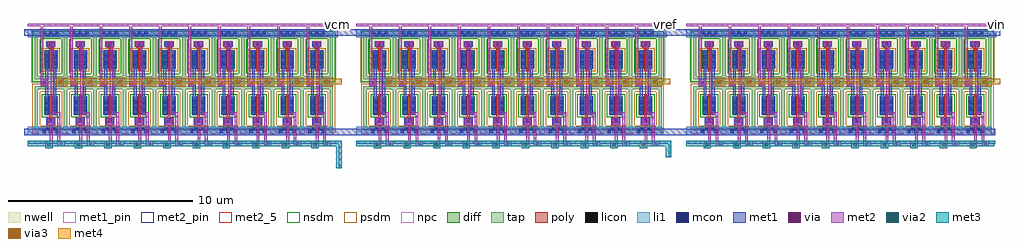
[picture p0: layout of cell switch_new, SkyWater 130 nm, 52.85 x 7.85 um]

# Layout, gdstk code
import gdstk
lib = gdstk.Library(unit=1e-6, precision=1e-09)
def R(c, l, rs):  # rectangles x0, y0, x1, y1
    for r in rs: c.add(gdstk.rectangle(r[:2], r[2:], *l))
def A(c, l, x, y, w, h, nx, ny, dx, dy):  # array of equal rectangles
    R(c, l, [(x+i*dx, y+j*dy, x+i*dx+w, y+j*dy+h) for i in range(nx) for j in range(ny)])
nwell = (64, 20)
diff = (65, 20)
tap = (65, 44)
poly = (66, 20)
licon = (66, 44)
li1 = (67, 20)
mcon = (67, 44)
met1_pin = (68, 16)
met1 = (68, 20)
via = (68, 44)
met2_5 = (69, 5)
met2_pin = (69, 16)
met2 = (69, 20)
via2 = (69, 44)
met3 = (70, 20)
via3 = (70, 44)
met4 = (71, 20)
nsdm = (93, 44)
psdm = (94, 20)
npc = (95, 20)

smpl_switch = lib.new_cell('smpl_switch')
R(smpl_switch, nwell, [(-0.51,19.46,16,22.3)])
A(smpl_switch, diff, 0.18, 17.71, 0.73, 1, 10, 2, 1.6, 2.49)
A(smpl_switch, tap, 1.25, 17.01, 0.19, 2.09, 9, 1, 1.6, 0)
A(smpl_switch, tap, 1.25, 19.81, 0.19, 2.14, 9, 1, 1.6, 0)
R(smpl_switch, tap, [(-0.33,16.84,15.82,17.01), (-0.33,17.01,-0.16,19.1), (15.65,17.01,15.82,19.1), (-0.33,19.1,15.82,19.27), (-0.33,19.64,15.82,19.81), (-0.33,19.81,-0.16,21.95), (15.65,19.81,15.82,21.95), (-0.33,21.95,15.82,22.12)])
A(smpl_switch, poly, 0.38, 17.27, 0.33, 0.33, 10, 2, 1.6, 4.085)
A(smpl_switch, poly, 0.47, 17.6, 0.15, 1.24, 10, 1, 1.6, 0)
A(smpl_switch, poly, 0.47, 20.07, 0.15, 1.285, 10, 1, 1.6, 0)
A(smpl_switch, licon, 0.46, 17.35, 0.17, 0.17, 10, 2, 1.6, 4.085)
A(smpl_switch, licon, 0.24, 17.785, 0.17, 0.17, 1, 3, 0, 0.34)
A(smpl_switch, licon, 0.68, 17.785, 0.17, 0.17, 1, 3, 0, 0.34)
A(smpl_switch, licon, 1.84, 17.785, 0.17, 0.17, 1, 3, 0, 0.34)
A(smpl_switch, licon, 2.28, 17.785, 0.17, 0.17, 1, 3, 0, 0.34)
A(smpl_switch, licon, 3.44, 17.785, 0.17, 0.17, 1, 3, 0, 0.34)
A(smpl_switch, licon, 3.88, 17.785, 0.17, 0.17, 1, 3, 0, 0.34)
A(smpl_switch, licon, 5.04, 17.785, 0.17, 0.17, 1, 3, 0, 0.34)
A(smpl_switch, licon, 5.48, 17.785, 0.17, 0.17, 1, 3, 0, 0.34)
A(smpl_switch, licon, 6.64, 17.785, 0.17, 0.17, 1, 3, 0, 0.34)
A(smpl_switch, licon, 7.08, 17.785, 0.17, 0.17, 1, 3, 0, 0.34)
A(smpl_switch, licon, 8.24, 17.785, 0.17, 0.17, 1, 3, 0, 0.34)
A(smpl_switch, licon, 8.68, 17.785, 0.17, 0.17, 1, 3, 0, 0.34)
A(smpl_switch, licon, 9.84, 17.785, 0.17, 0.17, 1, 3, 0, 0.34)
A(smpl_switch, licon, 10.28, 17.785, 0.17, 0.17, 1, 3, 0, 0.34)
A(smpl_switch, licon, 11.44, 17.785, 0.17, 0.17, 1, 3, 0, 0.34)
A(smpl_switch, licon, 11.88, 17.785, 0.17, 0.17, 1, 3, 0, 0.34)
A(smpl_switch, licon, 13.04, 17.785, 0.17, 0.17, 1, 3, 0, 0.34)
A(smpl_switch, licon, 13.48, 17.785, 0.17, 0.17, 1, 3, 0, 0.34)
A(smpl_switch, licon, 14.64, 17.785, 0.17, 0.17, 1, 3, 0, 0.34)
A(smpl_switch, licon, 15.08, 17.785, 0.17, 0.17, 1, 3, 0, 0.34)
A(smpl_switch, licon, 0.24, 20.275, 0.17, 0.17, 1, 3, 0, 0.34)
A(smpl_switch, licon, 0.68, 20.275, 0.17, 0.17, 1, 3, 0, 0.34)
A(smpl_switch, licon, 1.84, 20.275, 0.17, 0.17, 1, 3, 0, 0.34)
A(smpl_switch, licon, 2.28, 20.275, 0.17, 0.17, 1, 3, 0, 0.34)
A(smpl_switch, licon, 3.44, 20.275, 0.17, 0.17, 1, 3, 0, 0.34)
A(smpl_switch, licon, 3.88, 20.275, 0.17, 0.17, 1, 3, 0, 0.34)
A(smpl_switch, licon, 5.04, 20.275, 0.17, 0.17, 1, 3, 0, 0.34)
A(smpl_switch, licon, 5.48, 20.275, 0.17, 0.17, 1, 3, 0, 0.34)
A(smpl_switch, licon, 6.64, 20.275, 0.17, 0.17, 1, 3, 0, 0.34)
A(smpl_switch, licon, 7.08, 20.275, 0.17, 0.17, 1, 3, 0, 0.34)
A(smpl_switch, licon, 8.24, 20.275, 0.17, 0.17, 1, 3, 0, 0.34)
A(smpl_switch, licon, 8.68, 20.275, 0.17, 0.17, 1, 3, 0, 0.34)
A(smpl_switch, licon, 9.84, 20.275, 0.17, 0.17, 1, 3, 0, 0.34)
A(smpl_switch, licon, 10.28, 20.275, 0.17, 0.17, 1, 3, 0, 0.34)
A(smpl_switch, licon, 11.44, 20.275, 0.17, 0.17, 1, 3, 0, 0.34)
A(smpl_switch, licon, 11.88, 20.275, 0.17, 0.17, 1, 3, 0, 0.34)
A(smpl_switch, licon, 13.04, 20.275, 0.17, 0.17, 1, 3, 0, 0.34)
A(smpl_switch, licon, 13.48, 20.275, 0.17, 0.17, 1, 3, 0, 0.34)
A(smpl_switch, licon, 14.64, 20.275, 0.17, 0.17, 1, 3, 0, 0.34)
A(smpl_switch, licon, 15.08, 20.275, 0.17, 0.17, 1, 3, 0, 0.34)
R(smpl_switch, licon, [(0.29,16.84,0.46,17.01), (0.63,16.84,0.8,17.01), (1.89,16.84,2.06,17.01), (2.23,16.84,2.4,17.01), (3.49,16.84,3.66,17.01), (3.83,16.84,4,17.01), (5.09,16.84,5.26,17.01), (5.43,16.84,5.6,17.01), (6.69,16.84,6.86,17.01), (7.03,16.84,7.2,17.01), (8.29,16.84,8.46,17.01), (8.63,16.84,8.8,17.01), (9.89,16.84,10.06,17.01), (10.23,16.84,10.4,17.01), (11.49,16.84,11.66,17.01), (11.83,16.84,12,17.01), (13.09,16.84,13.26,17.01), (13.43,16.84,13.6,17.01), (14.69,16.84,14.86,17.01), (15.03,16.84,15.2,17.01), (0.29,21.95,0.46,22.12), (0.63,21.95,0.8,22.12), (1.89,21.95,2.06,22.12), (2.23,21.95,2.4,22.12), (3.49,21.95,3.66,22.12), (3.83,21.95,4,22.12), (5.09,21.95,5.26,22.12), (5.43,21.95,5.6,22.12), (6.69,21.95,6.86,22.12), (7.03,21.95,7.2,22.12), (8.29,21.95,8.46,22.12), (8.63,21.95,8.8,22.12), (9.89,21.95,10.06,22.12), (10.23,21.95,10.4,22.12), (11.49,21.95,11.66,22.12), (11.83,21.95,12,22.12), (13.09,21.95,13.26,22.12), (13.43,21.95,13.6,22.12), (14.69,21.95,14.86,22.12), (15.03,21.95,15.2,22.12)])
A(smpl_switch, li1, 0.38, 17.35, 0.33, 0.17, 10, 2, 1.6, 4.085)
R(smpl_switch, li1, [(-0.71,16.61,15.84,17.06), (0.24,17.69,0.41,18.73), (0.68,17.69,0.85,18.73), (1.84,17.69,2.01,18.73), (2.28,17.69,2.45,18.73), (3.44,17.69,3.61,18.73), (3.88,17.69,4.05,18.73), (5.04,17.69,5.21,18.73), (5.48,17.69,5.65,18.73), (6.64,17.69,6.81,18.73), (7.08,17.69,7.25,18.73), (8.24,17.69,8.41,18.73), (8.68,17.69,8.85,18.73), (9.84,17.69,10.01,18.73), (10.28,17.69,10.45,18.73), (11.44,17.69,11.61,18.73), (11.88,17.69,12.05,18.73), (13.04,17.69,13.21,18.73), (13.48,17.69,13.65,18.73), (14.64,17.69,14.81,18.73), (15.08,17.69,15.25,18.73), (0.24,20.18,0.41,21.22), (0.68,20.18,0.85,21.22), (1.84,20.18,2.01,21.22), (2.28,20.18,2.45,21.22), (3.44,20.18,3.61,21.22), (3.88,20.18,4.05,21.22), (5.04,20.18,5.21,21.22), (5.48,20.18,5.65,21.22), (6.64,20.18,6.81,21.22), (7.08,20.18,7.25,21.22), (8.24,20.18,8.41,21.22), (8.68,20.18,8.85,21.22), (9.84,20.18,10.01,21.22), (10.28,20.18,10.45,21.22), (11.44,20.18,11.61,21.22), (11.88,20.18,12.05,21.22), (13.04,20.18,13.21,21.22), (13.48,20.18,13.65,21.22), (14.64,20.18,14.81,21.22), (15.08,20.18,15.25,21.22), (-0.71,21.91,16.09,22.36)])
A(smpl_switch, mcon, 0.095, 16.725, 0.17, 0.17, 3, 2, 0.36, 5.35)
A(smpl_switch, mcon, 1.695, 16.725, 0.17, 0.17, 3, 2, 0.36, 5.35)
A(smpl_switch, mcon, 3.295, 16.725, 0.17, 0.17, 3, 2, 0.36, 5.35)
A(smpl_switch, mcon, 4.895, 16.725, 0.17, 0.17, 3, 2, 0.36, 5.35)
A(smpl_switch, mcon, 6.495, 16.725, 0.17, 0.17, 3, 2, 0.36, 5.35)
A(smpl_switch, mcon, 8.095, 16.725, 0.17, 0.17, 3, 2, 0.36, 5.35)
A(smpl_switch, mcon, 9.695, 16.725, 0.17, 0.17, 3, 2, 0.36, 5.35)
A(smpl_switch, mcon, 11.295, 16.725, 0.17, 0.17, 3, 2, 0.36, 5.35)
A(smpl_switch, mcon, 12.895, 16.725, 0.17, 0.17, 3, 2, 0.36, 5.35)
A(smpl_switch, mcon, 14.495, 16.725, 0.17, 0.17, 3, 2, 0.36, 5.35)
A(smpl_switch, mcon, 0.46, 17.35, 0.17, 0.17, 10, 2, 1.6, 4.085)
R(smpl_switch, mcon, [(0.24,17.945,0.41,18.115), (0.68,17.945,0.85,18.115), (1.84,17.945,2.01,18.115), (2.28,17.945,2.45,18.115), (3.44,17.945,3.61,18.115), (3.88,17.945,4.05,18.115), (5.04,17.945,5.21,18.115), (5.48,17.945,5.65,18.115), (6.64,17.945,6.81,18.115), (7.08,17.945,7.25,18.115), (8.24,17.945,8.41,18.115), (8.68,17.945,8.85,18.115), (9.84,17.945,10.01,18.115), (10.28,17.945,10.45,18.115), (11.44,17.945,11.61,18.115), (11.88,17.945,12.05,18.115), (13.04,17.945,13.21,18.115), (13.48,17.945,13.65,18.115), (14.64,17.945,14.81,18.115), (15.08,17.945,15.25,18.115), (0.24,18.305,0.41,18.475), (0.68,18.305,0.85,18.475), (1.84,18.305,2.01,18.475), (2.28,18.305,2.45,18.475), (3.44,18.305,3.61,18.475), (3.88,18.305,4.05,18.475), (5.04,18.305,5.21,18.475), (5.48,18.305,5.65,18.475), (6.64,18.305,6.81,18.475), (7.08,18.305,7.25,18.475), (8.24,18.305,8.41,18.475), (8.68,18.305,8.85,18.475), (9.84,18.305,10.01,18.475), (10.28,18.305,10.45,18.475), (11.44,18.305,11.61,18.475), (11.88,18.305,12.05,18.475), (13.04,18.305,13.21,18.475), (13.48,18.305,13.65,18.475), (14.64,18.305,14.81,18.475), (15.08,18.305,15.25,18.475), (0.24,20.435,0.41,20.605), (0.68,20.435,0.85,20.605), (1.84,20.435,2.01,20.605), (2.28,20.435,2.45,20.605), (3.44,20.435,3.61,20.605), (3.88,20.435,4.05,20.605), (5.04,20.435,5.21,20.605), (5.48,20.435,5.65,20.605), (6.64,20.435,6.81,20.605), (7.08,20.435,7.25,20.605), (8.24,20.435,8.41,20.605), (8.68,20.435,8.85,20.605), (9.84,20.435,10.01,20.605), (10.28,20.435,10.45,20.605), (11.44,20.435,11.61,20.605), (11.88,20.435,12.05,20.605), (13.04,20.435,13.21,20.605), (13.48,20.435,13.65,20.605), (14.64,20.435,14.81,20.605), (15.08,20.435,15.25,20.605), (0.24,20.795,0.41,20.965), (0.68,20.795,0.85,20.965), (1.84,20.795,2.01,20.965), (2.28,20.795,2.45,20.965), (3.44,20.795,3.61,20.965), (3.88,20.795,4.05,20.965), (5.04,20.795,5.21,20.965), (5.48,20.795,5.65,20.965), (6.64,20.795,6.81,20.965), (7.08,20.795,7.25,20.965), (8.24,20.795,8.41,20.965), (8.68,20.795,8.85,20.965), (9.84,20.795,10.01,20.965), (10.28,20.795,10.45,20.965), (11.44,20.795,11.61,20.965), (11.88,20.795,12.05,20.965), (13.04,20.795,13.21,20.965), (13.48,20.795,13.65,20.965), (14.64,20.795,14.81,20.965), (15.08,20.795,15.25,20.965)])
A(smpl_switch, met1_pin, -0.41, 16.66, 0.3, 0.3, 10, 2, 1.6, 5.35)
A(smpl_switch, met1_pin, 0.29, 17.16, 0.05, 0.4, 10, 1, 1.6, 0)
A(smpl_switch, met1_pin, 0.69, 19.31, 0.15, 0.15, 10, 1, 1.6, 0)
A(smpl_switch, met1_pin, 0.05, 19.32, 0.3, 0.3, 10, 1, 1.6, 0)
A(smpl_switch, met1_pin, 0.74, 21.41, 0.05, 0.3, 10, 1, 1.6, 0)
A(smpl_switch, met1, 0.89, 16.01, 0.4, 0.15, 10, 1, 1.6, 0)
A(smpl_switch, met1, 0.29, 17.16, 0.5, 0.4, 10, 1, 1.6, 0)
A(smpl_switch, met1, -0.01, 19.26, 0.4, 0.4, 10, 1, 1.6, 0)
A(smpl_switch, met1, 0.69, 19.26, 0.55, 0.4, 10, 1, 1.6, 0)
A(smpl_switch, met1, 0.4, 21.405, 0.29, 0.005, 10, 1, 1.6, 0)
A(smpl_switch, met1, 0.29, 21.41, 0.5, 0.3, 10, 1, 1.6, 0)
R(smpl_switch, met1, [(-0.71,16.16,16.04,16.31), (-0.91,16.61,16.04,16.96), (0.21,17.71,0.44,18.71), (0.65,17.71,0.88,18.71), (1.81,17.71,2.04,18.71), (2.25,17.71,2.48,18.71), (3.41,17.71,3.64,18.71), (3.85,17.71,4.08,18.71), (5.01,17.71,5.24,18.71), (5.45,17.71,5.68,18.71), (6.61,17.71,6.84,18.71), (7.05,17.71,7.28,18.71), (8.21,17.71,8.44,18.71), (8.65,17.71,8.88,18.71), (9.81,17.71,10.04,18.71), (10.25,17.71,10.48,18.71), (11.41,17.71,11.64,18.71), (11.85,17.71,12.08,18.71), (13.01,17.71,13.24,18.71), (13.45,17.71,13.68,18.71), (14.61,17.71,14.84,18.71), (15.05,17.71,15.28,18.71), (0.24,18.71,0.39,19.26), (0.69,18.71,0.84,19.26), (1.84,18.71,1.99,19.26), (2.29,18.71,2.44,19.26), (3.44,18.71,3.59,19.26), (3.89,18.71,4.04,19.26), (5.04,18.71,5.19,19.26), (5.49,18.71,5.64,19.26), (6.64,18.71,6.79,19.26), (7.09,18.71,7.24,19.26), (8.24,18.71,8.39,19.26), (8.69,18.71,8.84,19.26), (9.84,18.71,9.99,19.26), (10.29,18.71,10.44,19.26), (11.44,18.71,11.59,19.26), (11.89,18.71,12.04,19.26), (13.04,18.71,13.19,19.26), (13.49,18.71,13.64,19.26), (14.64,18.71,14.79,19.26), (15.09,18.71,15.24,19.26), (0.24,19.66,0.39,20.2), (0.69,19.66,0.84,20.2), (1.84,19.66,1.99,20.2), (2.29,19.66,2.44,20.2), (3.44,19.66,3.59,20.2), (3.89,19.66,4.04,20.2), (5.04,19.66,5.19,20.2), (5.49,19.66,5.64,20.2), (6.64,19.66,6.79,20.2), (7.09,19.66,7.24,20.2), (8.24,19.66,8.39,20.2), (8.69,19.66,8.84,20.2), (9.84,19.66,9.99,20.2), (10.29,19.66,10.44,20.2), (11.44,19.66,11.59,20.2), (11.89,19.66,12.04,20.2), (13.04,19.66,13.19,20.2), (13.49,19.66,13.64,20.2), (14.64,19.66,14.79,20.2), (15.09,19.66,15.24,20.2), (0.21,20.2,0.44,21.2), (0.65,20.2,0.88,21.2), (1.81,20.2,2.04,21.2), (2.25,20.2,2.48,21.2), (3.41,20.2,3.64,21.2), (3.85,20.2,4.08,21.2), (5.01,20.2,5.24,21.2), (5.45,20.2,5.68,21.2), (6.61,20.2,6.84,21.2), (7.05,20.2,7.28,21.2), (8.21,20.2,8.44,21.2), (8.65,20.2,8.88,21.2), (9.81,20.2,10.04,21.2), (10.25,20.2,10.48,21.2), (11.41,20.2,11.64,21.2), (11.85,20.2,12.08,21.2), (13.01,20.2,13.24,21.2), (13.45,20.2,13.68,21.2), (14.61,20.2,14.84,21.2), (15.05,20.2,15.28,21.2), (-0.91,22.01,16.29,22.36)])
A(smpl_switch, via, 1.015, 16.085, 0.15, 0.15, 10, 1, 1.6, 0)
A(smpl_switch, via, 0.465, 17.31, 0.15, 0.15, 10, 2, 1.6, 4.175)
A(smpl_switch, via, 0.115, 19.385, 0.15, 0.15, 10, 1, 1.6, 0)
R(smpl_switch, via, [(0.975,19.375,1.125,19.525)])
A(smpl_switch, met2, 0.24, 15.91, 0.4, 0.4, 10, 1, 1.6, 0)
A(smpl_switch, met2, 0.89, 16.01, 0.4, 0.3, 10, 1, 1.6, 0)
A(smpl_switch, met2, 0.49, 16.31, 0.15, 0.85, 10, 1, 1.6, 0)
A(smpl_switch, met2, 0.89, 16.31, 0.15, 1.4, 10, 1, 1.6, 0)
A(smpl_switch, met2, 0.34, 17.16, 0.4, 0.4, 10, 1, 1.6, 0)
A(smpl_switch, met2, 0.54, 17.71, 0.5, 0.15, 10, 1, 1.6, 0)
A(smpl_switch, met2, 0.54, 17.86, 0.15, 3.55, 10, 1, 1.6, 0)
A(smpl_switch, met2, -0.01, 19.66, 0.15, 2.85, 10, 1, 1.6, 0)
A(smpl_switch, met2, 0.34, 21.41, 0.4, 0.3, 10, 1, 1.6, 0)
R(smpl_switch, met2, [(-0.01,19.26,0.39,19.66), (0.84,19.26,1.24,19.66), (1.59,19.26,1.99,19.66), (2.44,19.26,2.84,19.66), (3.19,19.26,3.59,19.66), (4.04,19.26,4.44,19.66), (4.79,19.26,5.19,19.66), (5.64,19.26,6.04,19.66), (6.39,19.26,6.79,19.66), (7.24,19.26,7.64,19.66), (7.99,19.26,8.39,19.66), (8.84,19.26,9.24,19.66), (9.59,19.26,9.99,19.66), (10.44,19.26,10.84,19.66), (11.19,19.26,11.59,19.66), (12.04,19.26,12.44,19.66), (12.79,19.26,13.19,19.66), (13.64,19.26,14.04,19.66), (14.39,19.26,14.79,19.66), (15.24,19.26,15.64,19.66), (-0.71,22.51,15.94,22.66)])
A(smpl_switch, via2, 0.34, 16.01, 0.2, 0.2, 10, 1, 1.6, 0)
A(smpl_switch, via2, 0.94, 19.36, 0.2, 0.2, 10, 1, 1.6, 0)
A(smpl_switch, met3, 0.24, 15.91, 0.4, 0.1, 10, 1, 1.6, 0)
A(smpl_switch, met3, 0.84, 19.26, 0.6, 0.45, 10, 1, 1.6, 0)
R(smpl_switch, met3, [(-0.71,16.01,15.99,16.16), (-0.71,16.16,16.04,16.31)])
A(smpl_switch, via3, 0.965, 19.385, 0.2, 0.2, 10, 1, 1.6, 0)
A(smpl_switch, met4, 0.84, 19.26, 0.6, 0.1, 10, 1, 1.6, 0)
A(smpl_switch, met4, 0.84, 19.66, 0.6, 0.05, 10, 1, 1.6, 0)
R(smpl_switch, met4, [(0.84,19.36,16.29,19.66)])
A(smpl_switch, nsdm, 0.055, 17.585, 0.98, 1.25, 10, 1, 1.6, 0)
A(smpl_switch, nsdm, 1.125, 19.935, 0.44, 1.89, 9, 1, 1.6, 0)
R(smpl_switch, nsdm, [(-0.455,19.515,15.945,19.935), (-0.455,19.935,-0.035,21.825), (15.525,19.935,15.945,21.825), (-0.455,21.825,15.945,22.245)])
A(smpl_switch, psdm, 1.125, 17.135, 0.44, 1.84, 9, 1, 1.6, 0)
A(smpl_switch, psdm, 0.055, 20.075, 0.98, 1.25, 10, 1, 1.6, 0)
R(smpl_switch, psdm, [(-0.455,16.715,15.945,17.135), (-0.455,17.135,-0.035,18.975), (15.525,17.135,15.945,18.975), (-0.455,18.975,15.945,19.395)])
A(smpl_switch, npc, 0.36, 17.25, 0.37, 0.37, 10, 2, 1.6, 4.085)
smpl_switch.add(gdstk.Label('Vdd', (14.14,22.16), layer=68, texttype=5))
smpl_switch.add(gdstk.Label('Vdd', (12.54,22.16), layer=68, texttype=5))
smpl_switch.add(gdstk.Label('Vdd', (10.94,22.16), layer=68, texttype=5))
smpl_switch.add(gdstk.Label('Vdd', (7.74,22.16), layer=68, texttype=5))
smpl_switch.add(gdstk.Label('Vdd', (9.34,22.16), layer=68, texttype=5))
smpl_switch.add(gdstk.Label('Vdd', (6.14,22.16), layer=68, texttype=5))
smpl_switch.add(gdstk.Label('Vdd', (4.54,22.16), layer=68, texttype=5))
smpl_switch.add(gdstk.Label('Vdd', (2.94,22.16), layer=68, texttype=5))
smpl_switch.add(gdstk.Label('Vdd', (1.34,22.16), layer=68, texttype=5))
smpl_switch.add(gdstk.Label('Vdd', (-0.26,22.16), layer=68, texttype=5))
smpl_switch.add(gdstk.Label('Vin', (14.6,19.47), layer=68, texttype=5))
smpl_switch.add(gdstk.Label('Vin', (13,19.47), layer=68, texttype=5))
smpl_switch.add(gdstk.Label('Vin', (11.4,19.47), layer=68, texttype=5))
smpl_switch.add(gdstk.Label('Vin', (8.2,19.47), layer=68, texttype=5))
smpl_switch.add(gdstk.Label('Vin', (9.8,19.47), layer=68, texttype=5))
smpl_switch.add(gdstk.Label('Vin', (6.6,19.47), layer=68, texttype=5))
smpl_switch.add(gdstk.Label('Vin', (5,19.47), layer=68, texttype=5))
smpl_switch.add(gdstk.Label('Vin', (3.4,19.47), layer=68, texttype=5))
smpl_switch.add(gdstk.Label('Vin', (1.8,19.47), layer=68, texttype=5))
smpl_switch.add(gdstk.Label('Vin', (0.2,19.47), layer=68, texttype=5))
smpl_switch.add(gdstk.Label('sub', (14.14,16.81), layer=68, texttype=5))
smpl_switch.add(gdstk.Label('sub', (12.54,16.81), layer=68, texttype=5))
smpl_switch.add(gdstk.Label('sub', (10.94,16.81), layer=68, texttype=5))
smpl_switch.add(gdstk.Label('sub', (7.74,16.81), layer=68, texttype=5))
smpl_switch.add(gdstk.Label('sub', (9.34,16.81), layer=68, texttype=5))
smpl_switch.add(gdstk.Label('sub', (6.14,16.81), layer=68, texttype=5))
smpl_switch.add(gdstk.Label('sub', (4.54,16.81), layer=68, texttype=5))
smpl_switch.add(gdstk.Label('sub', (2.94,16.81), layer=68, texttype=5))
smpl_switch.add(gdstk.Label('sub', (1.34,16.81), layer=68, texttype=5))
smpl_switch.add(gdstk.Label('sub', (-0.26,16.81), layer=68, texttype=5))
smpl_switch.add(gdstk.Label('clk', (14.715,17.36), layer=68, texttype=5))
smpl_switch.add(gdstk.Label('clk', (13.115,17.36), layer=68, texttype=5))
smpl_switch.add(gdstk.Label('clk', (11.515,17.36), layer=68, texttype=5))
smpl_switch.add(gdstk.Label('clk', (8.315,17.36), layer=68, texttype=5))
smpl_switch.add(gdstk.Label('clk', (9.915,17.36), layer=68, texttype=5))
smpl_switch.add(gdstk.Label('clk', (6.715,17.36), layer=68, texttype=5))
smpl_switch.add(gdstk.Label('clk', (5.115,17.36), layer=68, texttype=5))
smpl_switch.add(gdstk.Label('clk', (3.515,17.36), layer=68, texttype=5))
smpl_switch.add(gdstk.Label('clk', (1.915,17.36), layer=68, texttype=5))
smpl_switch.add(gdstk.Label('clk', (0.315,17.36), layer=68, texttype=5))
smpl_switch.add(gdstk.Label('clk_b', (15.165,21.56), layer=68, texttype=5))
smpl_switch.add(gdstk.Label('clk_b', (13.565,21.56), layer=68, texttype=5))
smpl_switch.add(gdstk.Label('clk_b', (11.965,21.56), layer=68, texttype=5))
smpl_switch.add(gdstk.Label('clk_b', (8.765,21.56), layer=68, texttype=5))
smpl_switch.add(gdstk.Label('clk_b', (10.365,21.56), layer=68, texttype=5))
smpl_switch.add(gdstk.Label('clk_b', (7.165,21.56), layer=68, texttype=5))
smpl_switch.add(gdstk.Label('clk_b', (5.565,21.56), layer=68, texttype=5))
smpl_switch.add(gdstk.Label('clk_b', (3.965,21.56), layer=68, texttype=5))
smpl_switch.add(gdstk.Label('clk_b', (2.365,21.56), layer=68, texttype=5))
smpl_switch.add(gdstk.Label('clk_b', (0.765,21.56), layer=68, texttype=5))
smpl_switch.add(gdstk.Label('Vout', (15.165,19.385), layer=68, texttype=5))
smpl_switch.add(gdstk.Label('Vout', (13.565,19.385), layer=68, texttype=5))
smpl_switch.add(gdstk.Label('Vout', (11.965,19.385), layer=68, texttype=5))
smpl_switch.add(gdstk.Label('Vout', (8.765,19.385), layer=68, texttype=5))
smpl_switch.add(gdstk.Label('Vout', (10.365,19.385), layer=68, texttype=5))
smpl_switch.add(gdstk.Label('Vout', (7.165,19.385), layer=68, texttype=5))
smpl_switch.add(gdstk.Label('Vout', (5.565,19.385), layer=68, texttype=5))
smpl_switch.add(gdstk.Label('Vout', (3.965,19.385), layer=68, texttype=5))
smpl_switch.add(gdstk.Label('Vout', (2.365,19.385), layer=68, texttype=5))
smpl_switch.add(gdstk.Label('Vout', (0.765,19.385), layer=68, texttype=5))

switch_new = lib.new_cell('switch_new')
R(switch_new, met1_pin, [(33.75,22.5,34.05,22.65)])
R(switch_new, met1, [(-1.7,14.8,-1.55,16.15), (16.15,15.4,16.3,16.15), (-1.8,16.15,-1.55,16.3), (15.65,16.15,16.3,16.3), (-1.8,16.6,-0.9,16.95), (16,16.6,16.9,16.95), (-1.55,22,-0.85,22.35), (16.25,22,16.95,22.35)])
R(switch_new, met2_5, [(-1.95,22.5,-1.55,22.65)])
R(switch_new, met2_pin, [(15.9,22.5,16.1,22.65)])
R(switch_new, met2, [(-1.95,22.5,-1.55,22.65), (15.9,22.5,16.1,22.65), (33.75,22.5,34.05,22.65)])
R(switch_new, met3, [(-1.85,14.8,-1.55,16.3), (16,15.4,16.3,16), (15.65,16,16.3,16.3)])
switch_new.add(gdstk.Reference(smpl_switch, (-0.04,-0.01)))
switch_new.add(gdstk.Reference(smpl_switch, (-17.84,-0.01)))
switch_new.add(gdstk.Reference(smpl_switch, (17.81,-0.01)))
switch_new.add(gdstk.Label('vcm', (-1.75,22.575), layer=69, texttype=5))
switch_new.add(gdstk.Label('vin', (33.9,22.575), layer=68, texttype=5))
switch_new.add(gdstk.Label('vref', (16,22.575), layer=69, texttype=5))

lib.write_gds('switch_new.gds')
